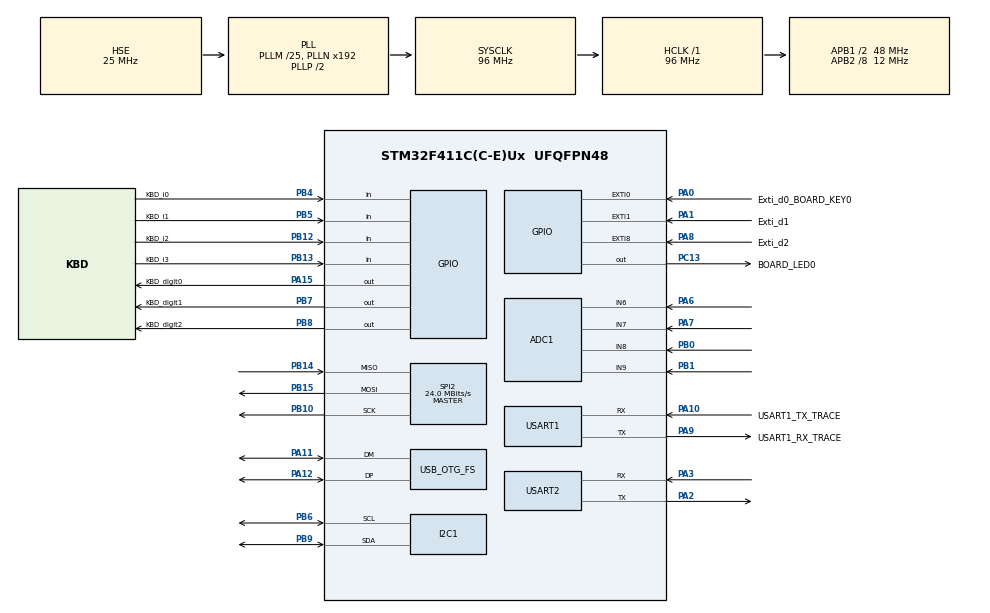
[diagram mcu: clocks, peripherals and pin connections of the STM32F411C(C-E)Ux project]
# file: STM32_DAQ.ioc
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ADC1.Channel-0\#ChannelRegularConversion=ADC_CHANNEL_6
ADC1.Channel-1\#ChannelRegularConversion=ADC_CHANNEL_7
ADC1.Channel-2\#ChannelRegularConversion=ADC_CHANNEL_8
ADC1.Channel-3\#ChannelRegularConversion=ADC_CHANNEL_9
ADC1.ClockPrescaler=ADC_CLOCK_SYNC_PCLK_DIV8
ADC1.DiscontinuousConvMode=DISABLE
ADC1.EOCSelection=ADC_EOC_SEQ_CONV
ADC1.EnableAnalogWatchDog=false
ADC1.InjNumberOfConversion=0
ADC1.NbrOfConversion=4
ADC1.NbrOfConversionFlag=1
ADC1.Rank-0\#ChannelRegularConversion=1
ADC1.Rank-1\#ChannelRegularConversion=2
ADC1.Rank-2\#ChannelRegularConversion=3
ADC1.Rank-3\#ChannelRegularConversion=4
ADC1.SamplingTime-0\#ChannelRegularConversion=ADC_SAMPLETIME_480CYCLES
ADC1.SamplingTime-1\#ChannelRegularConversion=ADC_SAMPLETIME_480CYCLES
ADC1.SamplingTime-2\#ChannelRegularConversion=ADC_SAMPLETIME_480CYCLES
ADC1.SamplingTime-3\#ChannelRegularConversion=ADC_SAMPLETIME_480CYCLES
ADC1.master=1
Dma.ADC1.0.Direction=DMA_PERIPH_TO_MEMORY
Dma.ADC1.0.FIFOMode=DMA_FIFOMODE_DISABLE
Dma.ADC1.0.Instance=DMA2_Stream0
Dma.ADC1.0.MemDataAlignment=DMA_MDATAALIGN_WORD
Dma.ADC1.0.MemInc=DMA_MINC_ENABLE
Dma.ADC1.0.Mode=DMA_NORMAL
Dma.ADC1.0.PeriphDataAlignment=DMA_PDATAALIGN_WORD
Dma.ADC1.0.PeriphInc=DMA_PINC_DISABLE
Dma.ADC1.0.Priority=DMA_PRIORITY_LOW
Dma.Request0=ADC1
FREERTOS.Events01=EvtTrace,Dynamic,NULL;EvtGlobalRunStop,Dynamic,NULL;EvtTaskHealth,Dynamic,NULL;EvtTriggers,Dynamic,NULL;EvtSpare2,Dynamic,NULL
FREERTOS.INCLUDE_xEventGroupSetBitFromISR=0
FREERTOS.Mutexes01=mtxMeasCnt,Dynamic,NULL,Available
FREERTOS.Queues01=qTrace,64,TRACE_MESSAGE_STRUCT,0,Dynamic,NULL,NULL;qRadioTx,64,RADIO_MESSAGE_STRUCT,0,Dynamic,NULL,NULL;qRadioRx,16,128,1,Dynamic,NULL,NULL;qRadioFwd,64,uint32_t,0,Dynamic,NULL,NULL
FREERTOS.Tasks01=defaultTask,24,128,StartDefaultTask,Default,NULL,Dynamic,NULL,NULL;TaskBlinky,8,128,startTaskBlinky,Default,NULL,Dynamic,NULL,NULL;TaskTrace,8,512,startTaskTrace,Default,NULL,Dynamic,NULL,NULL;TaskDispecer,8,512,startTaskDispecer,Default,NULL,Dynamic,NULL,NULL;TaskRadioComms,8,512,startTaskRadioComms,Default,NULL,Dynamic,NULL,NULL;TaskID,8,128,startTaskID,Default,NULL,Dynamic,NULL,NULL;d3,8,128,d3start,Default,NULL,Dynamic,NULL,NULL;d4,8,128,d4start,Default,NULL,Dynamic,NULL,NULL;d5,8,128,d5start,Default,NULL,Dynamic,NULL,NULL;d6,8,128,d6start,Default,NULL,Dynamic,NULL,NULL;TaskHwI2c,8,128,startTaskHwI2c,Default,NULL,Dynamic,NULL,NULL;TaskHwSpi,8,128,startTaskHwSpi,Default,NULL,Dynamic,NULL,NULL;TaskDigitalIn,8,512,startTaskDigitalIn,Default,NULL,Dynamic,NULL,NULL;TaskAnalogIn,8,512,startTaskAnalogIn,Default,NULL,Dynamic,NULL,NULL
FREERTOS.configCHECK_FOR_STACK_OVERFLOW=2
FREERTOS.configENABLE_BACKWARD_COMPATIBILITY=0
FREERTOS.configENABLE_FPU=1
FREERTOS.configGENERATE_RUN_TIME_STATS=1
FREERTOS.configMAX_TASK_NAME_LEN=56
FREERTOS.configMINIMAL_STACK_SIZE=128
FREERTOS.configQUEUE_REGISTRY_SIZE=32
FREERTOS.configRECORD_STACK_HIGH_ADDRESS=1
FREERTOS.configTIMER_TASK_STACK_DEPTH=512
FREERTOS.configTOTAL_HEAP_SIZE=96000
FREERTOS.configUSE_APPLICATION_TASK_TAG=1
FREERTOS.configUSE_IDLE_HOOK=1
FREERTOS.configUSE_MALLOC_FAILED_HOOK=1
FREERTOS.configUSE_NEWLIB_REENTRANT=0
FREERTOS.configUSE_POSIX_ERRNO=1
FREERTOS.configUSE_STATS_FORMATTING_FUNCTIONS=1
FREERTOS.configUSE_TICK_HOOK=1
Mcu.Family=STM32F4
Mcu.Name=STM32F411C(C-E)Ux
Mcu.Package=UFQFPN48
Mcu.UserConstants=UART_radio,$$_USART2_IP_HANDLE_$$;I2C_sensors,$$_I2C1_IP_HANDLE_$$;TRACE_MESSAGE_STRUCT,TraceMessage_t;SPI_sensors,$$_SPI2_IP_HANDLE_$$;UART_trace,$$_USART1_IP_HANDLE_$$;RADIO_MESSAGE_STRUCT,RadioMessage_t
NVIC.DMA2_Stream0_IRQn=true\:5\:0\:false\:false\:true\:true\:false\:true\:true
NVIC.EXTI0_IRQn=true\:5\:0\:false\:false\:true\:true\:true\:true\:true
NVIC.EXTI1_IRQn=true\:5\:0\:false\:false\:true\:true\:true\:true\:true
NVIC.EXTI9_5_IRQn=true\:5\:0\:false\:false\:true\:true\:true\:true\:true
NVIC.OTG_FS_IRQn=true\:5\:0\:false\:false\:true\:true\:false\:true\:true
NVIC.PriorityGroup=NVIC_PRIORITYGROUP_4
NVIC.TIM1_TRG_COM_TIM11_IRQn=true\:15\:0\:false\:false\:true\:false\:false\:true\:true
NVIC.TimeBase=TIM1_TRG_COM_TIM11_IRQn
NVIC.TimeBaseIP=TIM11
PA0-WKUP.GPIO_Label=Exti_d0_BOARD_KEY0
PA0-WKUP.GPIO_ModeDefaultEXTI=GPIO_MODE_IT_RISING_FALLING
PA0-WKUP.GPIO_PuPd=GPIO_PULLUP
PA0-WKUP.Signal=GPXTI0
PA1.GPIO_Label=Exti_d1
PA1.GPIO_ModeDefaultEXTI=GPIO_MODE_IT_RISING_FALLING
PA1.GPIO_PuPd=GPIO_PULLUP
PA1.Signal=GPXTI1
PA10.GPIO_Label=USART1_TX_TRACE
PA10.Mode=Asynchronous
PA10.Signal=USART1_RX
PA11.Mode=Device_Only
PA11.Signal=USB_OTG_FS_DM
PA12.Mode=Device_Only
PA12.Signal=USB_OTG_FS_DP
PA13.Mode=Trace_Asynchronous_SW
PA13.Signal=SYS_JTMS-SWDIO
PA14.Mode=Trace_Asynchronous_SW
PA14.Signal=SYS_JTCK-SWCLK
PA15.GPIO_Label=KBD_digit0
PA15.GPIO_ModeDefaultOutputPP=GPIO_MODE_OUTPUT_OD
PA15.GPIO_PuPd=GPIO_NOPULL
PA15.Signal=GPIO_Output
PA2.Mode=Asynchronous
PA2.Signal=USART2_TX
PA3.Mode=Asynchronous
PA3.Signal=USART2_RX
PA6.Signal=ADCx_IN6
PA7.Signal=ADCx_IN7
PA8.GPIO_Label=Exti_d2
PA8.GPIO_ModeDefaultEXTI=GPIO_MODE_IT_RISING_FALLING
PA8.GPIO_PuPd=GPIO_PULLUP
PA8.Signal=GPXTI8
PA9.GPIO_Label=USART1_RX_TRACE
PA9.Mode=Asynchronous
PA9.Signal=USART1_TX
PB0.Signal=ADCx_IN8
PB1.Signal=ADCx_IN9
PB10.Mode=Full_Duplex_Master
PB10.Signal=SPI2_SCK
PB12.GPIO_Label=KBD_i2
PB12.GPIO_PuPd=GPIO_PULLUP
PB12.Signal=GPIO_Input
PB13.GPIO_Label=KBD_i3
PB13.GPIO_PuPd=GPIO_PULLUP
PB13.Signal=GPIO_Input
PB14.Mode=Full_Duplex_Master
PB14.Signal=SPI2_MISO
PB15.Mode=Full_Duplex_Master
PB15.Signal=SPI2_MOSI
PB3.Mode=Trace_Asynchronous_SW
PB3.Signal=SYS_JTDO-SWO
PB4.GPIO_Label=KBD_i0
PB4.GPIO_PuPd=GPIO_PULLUP
PB4.Signal=GPIO_Input
PB5.GPIO_Label=KBD_i1
PB5.GPIO_PuPd=GPIO_PULLUP
PB5.Signal=GPIO_Input
PB6.Mode=I2C
PB6.Signal=I2C1_SCL
PB7.GPIO_Label=KBD_digit1
PB7.GPIO_ModeDefaultOutputPP=GPIO_MODE_OUTPUT_OD
PB7.GPIO_PuPd=GPIO_NOPULL
PB7.Signal=GPIO_Output
PB8.GPIO_Label=KBD_digit2
PB8.GPIO_ModeDefaultOutputPP=GPIO_MODE_OUTPUT_OD
PB8.GPIO_PuPd=GPIO_NOPULL
PB8.Signal=GPIO_Output
PB9.Mode=I2C
PB9.Signal=I2C1_SDA
PC13-ANTI_TAMP.GPIO_Label=BOARD_LED0
PC13-ANTI_TAMP.PinState=GPIO_PIN_SET
PC13-ANTI_TAMP.Signal=GPIO_Output
PC14-OSC32_IN.Mode=LSE-External-Oscillator
PC14-OSC32_IN.Signal=RCC_OSC32_IN
PC15-OSC32_OUT.Mode=LSE-External-Oscillator
PC15-OSC32_OUT.Signal=RCC_OSC32_OUT
PH0\ -\ OSC_IN.Mode=HSE-External-Oscillator
PH0\ -\ OSC_IN.Signal=RCC_OSC_IN
PH1\ -\ OSC_OUT.Mode=HSE-External-Oscillator
PH1\ -\ OSC_OUT.Signal=RCC_OSC_OUT
ProjectManager.HeapSize=0x200
ProjectManager.StackSize=0x400
ProjectManager.TargetToolchain=CMake
RCC.48MHZClocksFreq_Value=48000000
RCC.AHBFreq_Value=96000000
RCC.APB1CLKDivider=RCC_HCLK_DIV2
RCC.APB1Freq_Value=48000000
RCC.APB1TimFreq_Value=96000000
RCC.APB2CLKDivider=RCC_HCLK_DIV8
RCC.APB2Freq_Value=12000000
RCC.APB2TimFreq_Value=24000000
RCC.CortexFreq_Value=96000000
RCC.EnbaleCSS=true
RCC.HCLKFreq_Value=96000000
RCC.HSE_VALUE=25000000
RCC.HSI_VALUE=16000000
RCC.PLLM=25
RCC.RCC_RTC_Clock_Source=RCC_RTCCLKSOURCE_LSE
RCC.RCC_RTC_Clock_SourceVirtual=RCC_RTCCLKSOURCE_LSE
RCC.SYSCLKFreq_VALUE=96000000
RCC.SYSCLKSource=RCC_SYSCLKSOURCE_PLLCLK
RCC.VCOOutputFreq_Value=192000000
SH.ADCx_IN6.0=ADC1_IN6,IN6
SH.ADCx_IN7.0=ADC1_IN7,IN7
SH.ADCx_IN8.0=ADC1_IN8,IN8
SH.ADCx_IN9.0=ADC1_IN9,IN9
SPI2.CalculateBaudRate=24.0 MBits/s
SPI2.Direction=SPI_DIRECTION_2LINES
SPI2.Mode=SPI_MODE_MASTER
SPI2.VirtualType=VM_MASTER
USART1.VirtualMode=VM_ASYNC
USART2.VirtualMode=VM_ASYNC
USB_DEVICE.CLASS_NAME_FS=CDC
USB_DEVICE.MANUFACTURER_STRING=ZK
USB_DEVICE.PID_CDC_FS=22336
USB_DEVICE.PRODUCT_STRING_CDC_FS=Specialized DACQ Trace Port
USB_DEVICE.VID=1155
USB_DEVICE.VirtualMode=Cdc
USB_DEVICE.VirtualModeFS=Cdc_FS
USB_OTG_FS.VirtualMode=Device_Only
VP_ADC1_Vbat_Input.Mode=IN-Vbat
VP_CRC_VS_CRC.Mode=CRC_Activate
VP_FREERTOS_VS_CMSIS_V2.Mode=CMSIS_V2
VP_RTC_VS_RTC_Activate.Mode=RTC_Enabled
VP_RTC_VS_RTC_Calendar.Mode=RTC_Calendar
VP_SYS_VS_tim11.Mode=TIM11
VP_USB_DEVICE_VS_USB_DEVICE_CDC_FS.Mode=CDC_FS
board=custom

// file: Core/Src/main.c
/* USER CODE BEGIN Header */
/**
  ******************************************************************************
  * @file           : main.c
  * @brief          : Main program body
  ******************************************************************************
  * @attention
  *
  * Copyright (c) 2026 STMicroelectronics.
  * All rights reserved.
  *
  * This software is licensed under terms that can be found in the LICENSE file
  * in the root directory of this software component.
  * If no LICENSE file comes with this software, it is provided AS-IS.
  *
  ******************************************************************************
  */
/* USER CODE END Header */
#include "main.h"
#include "cmsis_os.h"
#include "usb_device.h"

/* USER CODE BEGIN Includes */
#include <stdbool.h>
#include "usbd_cdc_if.h"
#include "BoardLed.h"
#include "DAQ_Config.h"
#include "DeviceID.h"
#include "Trejser.h"
#include "Radio.h"
#include "MerenjaHolder.h"
#include "Kalendar.h"

/* USER CODE END Includes */

ADC_HandleTypeDef hadc1;
DMA_HandleTypeDef hdma_adc1;

CRC_HandleTypeDef hcrc;

I2C_HandleTypeDef hi2c1;

RTC_HandleTypeDef hrtc;

SPI_HandleTypeDef hspi2;

UART_HandleTypeDef huart1;
UART_HandleTypeDef huart2;

/* Definitions for defaultTask */
osThreadId_t defaultTaskHandle;
const osThreadAttr_t defaultTask_attributes = {
  .name = "defaultTask",
  .stack_size = 128 * 4,
  .priority = (osPriority_t) osPriorityNormal,
};
/* Definitions for TaskBlinky */
osThreadId_t TaskBlinkyHandle;
const osThreadAttr_t TaskBlinky_attributes = {
  .name = "TaskBlinky",
  .stack_size = 128 * 4,
  .priority = (osPriority_t) osPriorityLow,
};
/* Definitions for TaskTrace */
osThreadId_t TaskTraceHandle;
const osThreadAttr_t TaskTrace_attributes = {
  .name = "TaskTrace",
  .stack_size = 512 * 4,
  .priority = (osPriority_t) osPriorityLow,
};
/* Definitions for TaskDispecer */
osThreadId_t TaskDispecerHandle;
const osThreadAttr_t TaskDispecer_attributes = {
  .name = "TaskDispecer",
  .stack_size = 512 * 4,
  .priority = (osPriority_t) osPriorityLow,
};
/* Definitions for TaskRadioComms */
osThreadId_t TaskRadioCommsHandle;
const osThreadAttr_t TaskRadioComms_attributes = {
  .name = "TaskRadioComms",
  .stack_size = 512 * 4,
  .priority = (osPriority_t) osPriorityLow,
};
/* Definitions for TaskID */
osThreadId_t TaskIDHandle;
const osThreadAttr_t TaskID_attributes = {
  .name = "TaskID",
  .stack_size = 128 * 4,
  .priority = (osPriority_t) osPriorityLow,
};
/* Definitions for d3 */
osThreadId_t d3Handle;
const osThreadAttr_t d3_attributes = {
  .name = "d3",
  .stack_size = 128 * 4,
  .priority = (osPriority_t) osPriorityLow,
};
/* Definitions for d4 */
osThreadId_t d4Handle;
const osThreadAttr_t d4_attributes = {
  .name = "d4",
  .stack_size = 128 * 4,
  .priority = (osPriority_t) osPriorityLow,
};
/* Definitions for d5 */
osThreadId_t d5Handle;
const osThreadAttr_t d5_attributes = {
  .name = "d5",
  .stack_size = 128 * 4,
  .priority = (osPriority_t) osPriorityLow,
};
/* Definitions for d6 */
osThreadId_t d6Handle;
const osThreadAttr_t d6_attributes = {
  .name = "d6",
  .stack_size = 128 * 4,
  .priority = (osPriority_t) osPriorityLow,
};
/* Definitions for TaskHwI2c */
osThreadId_t TaskHwI2cHandle;
const osThreadAttr_t TaskHwI2c_attributes = {
  .name = "TaskHwI2c",
  .stack_size = 128 * 4,
  .priority = (osPriority_t) osPriorityLow,
};
/* Definitions for TaskHwSpi */
osThreadId_t TaskHwSpiHandle;
const osThreadAttr_t TaskHwSpi_attributes = {
  .name = "TaskHwSpi",
  .stack_size = 128 * 4,
  .priority = (osPriority_t) osPriorityLow,
};
/* Definitions for TaskDigitalIn */
osThreadId_t TaskDigitalInHandle;
const osThreadAttr_t TaskDigitalIn_attributes = {
  .name = "TaskDigitalIn",
  .stack_size = 512 * 4,
  .priority = (osPriority_t) osPriorityLow,
};
/* Definitions for TaskAnalogIn */
osThreadId_t TaskAnalogInHandle;
const osThreadAttr_t TaskAnalogIn_attributes = {
  .name = "TaskAnalogIn",
  .stack_size = 512 * 4,
  .priority = (osPriority_t) osPriorityLow,
};
/* Definitions for qTrace */
osMessageQueueId_t qTraceHandle;
const osMessageQueueAttr_t qTrace_attributes = {
  .name = "qTrace"
};
/* Definitions for qRadioTx */
osMessageQueueId_t qRadioTxHandle;
const osMessageQueueAttr_t qRadioTx_attributes = {
  .name = "qRadioTx"
};
/* Definitions for qRadioRx */
osMessageQueueId_t qRadioRxHandle;
const osMessageQueueAttr_t qRadioRx_attributes = {
  .name = "qRadioRx"
};
/* Definitions for qRadioFwd */
osMessageQueueId_t qRadioFwdHandle;
const osMessageQueueAttr_t qRadioFwd_attributes = {
  .name = "qRadioFwd"
};
/* Definitions for mtxMeasCnt */
osMutexId_t mtxMeasCntHandle;
const osMutexAttr_t mtxMeasCnt_attributes = {
  .name = "mtxMeasCnt"
};
/* Definitions for EvtTrace */
osEventFlagsId_t EvtTraceHandle;
const osEventFlagsAttr_t EvtTrace_attributes = {
  .name = "EvtTrace"
};
/* Definitions for EvtGlobalRunStop */
osEventFlagsId_t EvtGlobalRunStopHandle;
const osEventFlagsAttr_t EvtGlobalRunStop_attributes = {
  .name = "EvtGlobalRunStop"
};
/* Definitions for EvtTaskHealth */
osEventFlagsId_t EvtTaskHealthHandle;
const osEventFlagsAttr_t EvtTaskHealth_attributes = {
  .name = "EvtTaskHealth"
};
/* Definitions for EvtTriggers */
osEventFlagsId_t EvtTriggersHandle;
const osEventFlagsAttr_t EvtTriggers_attributes = {
  .name = "EvtTriggers"
};
/* Definitions for EvtSpare2 */
osEventFlagsId_t EvtSpare2Handle;
const osEventFlagsAttr_t EvtSpare2_attributes = {
  .name = "EvtSpare2"
};
/* USER CODE BEGIN PV */

const uint32_t qWt = 10;					// wait za upis u queue
const uint32_t trcWt = 100;					// timeout za uart i usb trace facility
const uint32_t allMeasTmout = 1000U * 20;	// timeout da se zavrse sva merenja
uint32_t measCnt = 0;

// maksimalni flegovi
uint32_t flg_MAX = 0x7FFFFFFFU;

typedef enum {									// enum je potreban sa switch case
	flg_BLINK_ENABLED =				(1 << 0 ),

	flg_DIGITAL_ENABLED =			(1 << 1 ),
	flg_DIGITAL_IRQ =				(1 << 2 ),	// EXTI callback: digitalni ulaz se promenio
	flg_DIGITAL_REQUEST =			(1 << 3 ),	// neki task zahteva ocitavanje digitalnih ulaza
	flg_DIGITAL_PROCESSING_DONE =	(1 << 4 ),	// svi digitalni pinovi procitani i spremni za slanje
	flg_DIGITAL_TRIGGERED =			(1 << 5 ),	// svi digitalni pinovi procitani i spremni za slanje

	flg_ANALOG_ENABLED = 			(1 << 6 ),
	flg_ADC_CONV_CPLT_IRQ =			(1 << 7 ),	// ADC IRQ callback: zavrsena adc konverzija u pozadini i DMA je obavio svoje
	flg_ADC_REQUEST =				(1 << 8 ),	// neki task zahteva adc konverziju
	flg_ANALOG_PROCESSING_DONE =	(1 << 9 ),	// zavrsena analogna merenja ali ni jedan threshold nije prekoracen
	flg_ANALOG_TRIGGERED =			(1 << 10),	// zavrsena analogna merenja i neka vrednost je prekoracena

	flg_RADIO_ENABLED =				(1 << 11),

	flg_devID_ENABLED =				(1 << 12),	// read device id

	evtflg_SPARE1_TRIGGER =			(1 << 13),
	evtflg_SPARE2_TRIGGER =			(1 << 14),
	evtflg_SPARE3_TRIGGER =			(1 << 15),
	evtflg_SPARE4_TRIGGER =			(1 << 16),
} Flegovi_t;

/* USER CODE END PV */

void SystemClock_Config(void);
static void MX_GPIO_Init(void);
static void MX_DMA_Init(void);
static void MX_ADC1_Init(void);
static void MX_CRC_Init(void);
static void MX_I2C1_Init(void);
static void MX_RTC_Init(void);
static void MX_SPI2_Init(void);
static void MX_USART1_UART_Init(void);
static void MX_USART2_UART_Init(void);
void StartDefaultTask(void *argument);
void startTaskBlinky(void *argument);
void startTaskTrace(void *argument);
void startTaskDispecer(void *argument);
void startTaskRadioComms(void *argument);
void startTaskID(void *argument);
void d3start(void *argument);
void d4start(void *argument);
void d5start(void *argument);
void d6start(void *argument);
void startTaskHwI2c(void *argument);
void startTaskHwSpi(void *argument);
void startTaskDigitalIn(void *argument);
void startTaskAnalogIn(void *argument);

int main(void)
{

  /* MCU Configuration--------------------------------------------------------*/

  /* Reset of all peripherals, Initializes the Flash interface and the Systick. */
  HAL_Init();

  /* Configure the system clock */
  SystemClock_Config();

  /* Initialize all configured peripherals */
  MX_GPIO_Init();
  MX_DMA_Init();
  MX_ADC1_Init();
  MX_CRC_Init();
  MX_I2C1_Init();
  MX_RTC_Init();
  MX_SPI2_Init();
  MX_USART1_UART_Init();
  MX_USART2_UART_Init();

  /* Init scheduler */
  osKernelInitialize();
  /* Create the mutex(es) */
  /* creation of mtxMeasCnt */
  mtxMeasCntHandle = osMutexNew(&mtxMeasCnt_attributes);

  /* Create the queue(s) */
  /* creation of qTrace */
  qTraceHandle = osMessageQueueNew (64, sizeof(TRACE_MESSAGE_STRUCT), &qTrace_attributes);

  /* creation of qRadioTx */
  qRadioTxHandle = osMessageQueueNew (64, sizeof(RADIO_MESSAGE_STRUCT), &qRadioTx_attributes);

  /* creation of qRadioRx */
  qRadioRxHandle = osMessageQueueNew (16, 128, &qRadioRx_attributes);

  /* creation of qRadioFwd */
  qRadioFwdHandle = osMessageQueueNew (64, sizeof(uint32_t), &qRadioFwd_attributes);

  /* Create the thread(s) */
  /* creation of defaultTask */
  defaultTaskHandle = osThreadNew(StartDefaultTask, NULL, &defaultTask_attributes);

  /* creation of TaskBlinky */
  TaskBlinkyHandle = osThreadNew(startTaskBlinky, NULL, &TaskBlinky_attributes);

  /* creation of TaskTrace */
  TaskTraceHandle = osThreadNew(startTaskTrace, NULL, &TaskTrace_attributes);

  /* creation of TaskDispecer */
  TaskDispecerHandle = osThreadNew(startTaskDispecer, NULL, &TaskDispecer_attributes);

  /* creation of TaskRadioComms */
  TaskRadioCommsHandle = osThreadNew(startTaskRadioComms, NULL, &TaskRadioComms_attributes);

  /* creation of TaskID */
  TaskIDHandle = osThreadNew(startTaskID, NULL, &TaskID_attributes);

  /* creation of d3 */
  d3Handle = osThreadNew(d3start, NULL, &d3_attributes);

  /* creation of d4 */
  d4Handle = osThreadNew(d4start, NULL, &d4_attributes);

  /* creation of d5 */
  d5Handle = osThreadNew(d5start, NULL, &d5_attributes);

  /* creation of d6 */
  d6Handle = osThreadNew(d6start, NULL, &d6_attributes);

  /* creation of TaskHwI2c */
  TaskHwI2cHandle = osThreadNew(startTaskHwI2c, NULL, &TaskHwI2c_attributes);

  /* creation of TaskHwSpi */
  TaskHwSpiHandle = osThreadNew(startTaskHwSpi, NULL, &TaskHwSpi_attributes);

  /* creation of TaskDigitalIn */
  TaskDigitalInHandle = osThreadNew(startTaskDigitalIn, NULL, &TaskDigitalIn_attributes);

  /* creation of TaskAnalogIn */
  TaskAnalogInHandle = osThreadNew(startTaskAnalogIn, NULL, &TaskAnalogIn_attributes);

  /* creation of EvtTrace */
  EvtTraceHandle = osEventFlagsNew(&EvtTrace_attributes);

  /* creation of EvtGlobalRunStop */
  EvtGlobalRunStopHandle = osEventFlagsNew(&EvtGlobalRunStop_attributes);

  /* creation of EvtTaskHealth */
  EvtTaskHealthHandle = osEventFlagsNew(&EvtTaskHealth_attributes);

  /* creation of EvtTriggers */
  EvtTriggersHandle = osEventFlagsNew(&EvtTriggers_attributes);

  /* creation of EvtSpare2 */
  EvtSpare2Handle = osEventFlagsNew(&EvtSpare2_attributes);

  /* Start scheduler */
  osKernelStart();

  /* We should never get here as control is now taken by the scheduler */

  /* Infinite loop */
  while (1)
  {

  }
}

void SystemClock_Config(void)
{
  RCC_OscInitTypeDef RCC_OscInitStruct = {0};
  RCC_ClkInitTypeDef RCC_ClkInitStruct = {0};

  /** Configure the main internal regulator output voltage
  */
  __HAL_RCC_PWR_CLK_ENABLE();
  __HAL_PWR_VOLTAGESCALING_CONFIG(PWR_REGULATOR_VOLTAGE_SCALE1);

  /** Initializes the RCC Oscillators according to the specified parameters
  * in the RCC_OscInitTypeDef structure.
  */
  RCC_OscInitStruct.OscillatorType = RCC_OSCILLATORTYPE_HSE|RCC_OSCILLATORTYPE_LSE;
  RCC_OscInitStruct.HSEState = RCC_HSE_ON;
  RCC_OscInitStruct.LSEState = RCC_LSE_ON;
  RCC_OscInitStruct.PLL.PLLState = RCC_PLL_ON;
  RCC_OscInitStruct.PLL.PLLSource = RCC_PLLSOURCE_HSE;
  RCC_OscInitStruct.PLL.PLLM = 25;
  RCC_OscInitStruct.PLL.PLLN = 192;
  RCC_OscInitStruct.PLL.PLLP = RCC_PLLP_DIV2;
  RCC_OscInitStruct.PLL.PLLQ = 4;
  if (HAL_RCC_OscConfig(&RCC_OscInitStruct) != HAL_OK)
  {
    Error_Handler();
  }

  /** Initializes the CPU, AHB and APB buses clocks
  */
  RCC_ClkInitStruct.ClockType = RCC_CLOCKTYPE_HCLK|RCC_CLOCKTYPE_SYSCLK
                              |RCC_CLOCKTYPE_PCLK1|RCC_CLOCKTYPE_PCLK2;
  RCC_ClkInitStruct.SYSCLKSource = RCC_SYSCLKSOURCE_PLLCLK;
  RCC_ClkInitStruct.AHBCLKDivider = RCC_SYSCLK_DIV1;
  RCC_ClkInitStruct.APB1CLKDivider = RCC_HCLK_DIV2;
  RCC_ClkInitStruct.APB2CLKDivider = RCC_HCLK_DIV8;

  if (HAL_RCC_ClockConfig(&RCC_ClkInitStruct, FLASH_LATENCY_3) != HAL_OK)
  {
    Error_Handler();
  }

  /** Enables the Clock Security System
  */
  HAL_RCC_EnableCSS();
}

static void MX_ADC1_Init(void)
{

  ADC_ChannelConfTypeDef sConfig = {0};

  /** Configure the global features of the ADC (Clock, Resolution, Data Alignment and number of conversion)
  */
  hadc1.Instance = ADC1;
  hadc1.Init.ClockPrescaler = ADC_CLOCK_SYNC_PCLK_DIV8;
  hadc1.Init.Resolution = ADC_RESOLUTION_12B;
  hadc1.Init.ScanConvMode = ENABLE;
  hadc1.Init.ContinuousConvMode = DISABLE;
  hadc1.Init.DiscontinuousConvMode = DISABLE;
  hadc1.Init.ExternalTrigConvEdge = ADC_EXTERNALTRIGCONVEDGE_NONE;
  hadc1.Init.ExternalTrigConv = ADC_SOFTWARE_START;
  hadc1.Init.DataAlign = ADC_DATAALIGN_RIGHT;
  hadc1.Init.NbrOfConversion = 4;
  hadc1.Init.DMAContinuousRequests = DISABLE;
  hadc1.Init.EOCSelection = ADC_EOC_SEQ_CONV;
  if (HAL_ADC_Init(&hadc1) != HAL_OK)
  {
    Error_Handler();
  }

  /** Configure for the selected ADC regular channel its corresponding rank in the sequencer and its sample time.
  */
  sConfig.Channel = ADC_CHANNEL_6;
  sConfig.Rank = 1;
  sConfig.SamplingTime = ADC_SAMPLETIME_480CYCLES;
  if (HAL_ADC_ConfigChannel(&hadc1, &sConfig) != HAL_OK)
  {
    Error_Handler();
  }

  /** Configure for the selected ADC regular channel its corresponding rank in the sequencer and its sample time.
  */
  sConfig.Channel = ADC_CHANNEL_7;
  sConfig.Rank = 2;
  if (HAL_ADC_ConfigChannel(&hadc1, &sConfig) != HAL_OK)
  {
    Error_Handler();
  }

  /** Configure for the selected ADC regular channel its corresponding rank in the sequencer and its sample time.
  */
  sConfig.Channel = ADC_CHANNEL_8;
  sConfig.Rank = 3;
  if (HAL_ADC_ConfigChannel(&hadc1, &sConfig) != HAL_OK)
  {
    Error_Handler();
  }

  /** Configure for the selected ADC regular channel its corresponding rank in the sequencer and its sample time.
  */
  sConfig.Channel = ADC_CHANNEL_9;
  sConfig.Rank = 4;
  if (HAL_ADC_ConfigChannel(&hadc1, &sConfig) != HAL_OK)
  {
    Error_Handler();
  }

}

static void MX_CRC_Init(void)
{

  hcrc.Instance = CRC;
  if (HAL_CRC_Init(&hcrc) != HAL_OK)
  {
    Error_Handler();
  }

}

static void MX_I2C1_Init(void)
{

  hi2c1.Instance = I2C1;
  hi2c1.Init.ClockSpeed = 100000;
  hi2c1.Init.DutyCycle = I2C_DUTYCYCLE_2;
  hi2c1.Init.OwnAddress1 = 0;
  hi2c1.Init.AddressingMode = I2C_ADDRESSINGMODE_7BIT;
  hi2c1.Init.DualAddressMode = I2C_DUALADDRESS_DISABLE;
  hi2c1.Init.OwnAddress2 = 0;
  hi2c1.Init.GeneralCallMode = I2C_GENERALCALL_DISABLE;
  hi2c1.Init.NoStretchMode = I2C_NOSTRETCH_DISABLE;
  if (HAL_I2C_Init(&hi2c1) != HAL_OK)
  {
    Error_Handler();
  }

}

static void MX_RTC_Init(void)
{

  RTC_TimeTypeDef sTime = {0};
  RTC_DateTypeDef sDate = {0};

  /** Initialize RTC Only
  */
  hrtc.Instance = RTC;
  hrtc.Init.HourFormat = RTC_HOURFORMAT_24;
  hrtc.Init.AsynchPrediv = 127;
  hrtc.Init.SynchPrediv = 255;
  hrtc.Init.OutPut = RTC_OUTPUT_DISABLE;
  hrtc.Init.OutPutPolarity = RTC_OUTPUT_POLARITY_HIGH;
  hrtc.Init.OutPutType = RTC_OUTPUT_TYPE_OPENDRAIN;
  if (HAL_RTC_Init(&hrtc) != HAL_OK)
  {
    Error_Handler();
  }

  /** Initialize RTC and set the Time and Date
  */
  sTime.Hours = 0x0;
  sTime.Minutes = 0x0;
  sTime.Seconds = 0x0;
  sTime.DayLightSaving = RTC_DAYLIGHTSAVING_NONE;
  sTime.StoreOperation = RTC_STOREOPERATION_RESET;
  if (HAL_RTC_SetTime(&hrtc, &sTime, RTC_FORMAT_BCD) != HAL_OK)
  {
    Error_Handler();
  }
  sDate.WeekDay = RTC_WEEKDAY_MONDAY;
  sDate.Month = RTC_MONTH_JANUARY;
  sDate.Date = 0x1;
  sDate.Year = 0x0;

  if (HAL_RTC_SetDate(&hrtc, &sDate, RTC_FORMAT_BCD) != HAL_OK)
  {
    Error_Handler();
  }

}

static void MX_SPI2_Init(void)
{

  /* SPI2 parameter configuration*/
  hspi2.Instance = SPI2;
  hspi2.Init.Mode = SPI_MODE_MASTER;
  hspi2.Init.Direction = SPI_DIRECTION_2LINES;
  hspi2.Init.DataSize = SPI_DATASIZE_8BIT;
  hspi2.Init.CLKPolarity = SPI_POLARITY_LOW;
  hspi2.Init.CLKPhase = SPI_PHASE_1EDGE;
  hspi2.Init.NSS = SPI_NSS_SOFT;
  hspi2.Init.BaudRatePrescaler = SPI_BAUDRATEPRESCALER_2;
  hspi2.Init.FirstBit = SPI_FIRSTBIT_MSB;
  hspi2.Init.TIMode = SPI_TIMODE_DISABLE;
  hspi2.Init.CRCCalculation = SPI_CRCCALCULATION_DISABLE;
  hspi2.Init.CRCPolynomial = 10;
  if (HAL_SPI_Init(&hspi2) != HAL_OK)
  {
    Error_Handler();
  }

}

static void MX_USART1_UART_Init(void)
{

  huart1.Instance = USART1;
  huart1.Init.BaudRate = 115200;
  huart1.Init.WordLength = UART_WORDLENGTH_8B;
  huart1.Init.StopBits = UART_STOPBITS_1;
  huart1.Init.Parity = UART_PARITY_NONE;
  huart1.Init.Mode = UART_MODE_TX_RX;
  huart1.Init.HwFlowCtl = UART_HWCONTROL_NONE;
  huart1.Init.OverSampling = UART_OVERSAMPLING_16;
  if (HAL_UART_Init(&huart1) != HAL_OK)
  {
    Error_Handler();
  }

}

static void MX_USART2_UART_Init(void)
{

  huart2.Instance = USART2;
  huart2.Init.BaudRate = 115200;
  huart2.Init.WordLength = UART_WORDLENGTH_8B;
  huart2.Init.StopBits = UART_STOPBITS_1;
  huart2.Init.Parity = UART_PARITY_NONE;
  huart2.Init.Mode = UART_MODE_TX_RX;
  huart2.Init.HwFlowCtl = UART_HWCONTROL_NONE;
  huart2.Init.OverSampling = UART_OVERSAMPLING_16;
  if (HAL_UART_Init(&huart2) != HAL_OK)
  {
    Error_Handler();
  }

}

static void MX_DMA_Init(void)
{

  /* DMA controller clock enable */
  __HAL_RCC_DMA2_CLK_ENABLE();

  /* DMA interrupt init */
  /* DMA2_Stream0_IRQn interrupt configuration */
  HAL_NVIC_SetPriority(DMA2_Stream0_IRQn, 5, 0);
  HAL_NVIC_EnableIRQ(DMA2_Stream0_IRQn);

}

static void MX_GPIO_Init(void)
{
  GPIO_InitTypeDef GPIO_InitStruct = {0};

  /* GPIO Ports Clock Enable */
  __HAL_RCC_GPIOC_CLK_ENABLE();
  __HAL_RCC_GPIOH_CLK_ENABLE();
  __HAL_RCC_GPIOA_CLK_ENABLE();
  __HAL_RCC_GPIOB_CLK_ENABLE();

  /*Configure GPIO pin Output Level */
  HAL_GPIO_WritePin(BOARD_LED0_GPIO_Port, BOARD_LED0_Pin, GPIO_PIN_SET);

  /*Configure GPIO pin Output Level */
  HAL_GPIO_WritePin(KBD_digit0_GPIO_Port, KBD_digit0_Pin, GPIO_PIN_RESET);

  /*Configure GPIO pin Output Level */
  HAL_GPIO_WritePin(GPIOB, KBD_digit1_Pin|KBD_digit2_Pin, GPIO_PIN_RESET);

  /*Configure GPIO pin : BOARD_LED0_Pin */
  GPIO_InitStruct.Pin = BOARD_LED0_Pin;
  GPIO_InitStruct.Mode = GPIO_MODE_OUTPUT_PP;
  GPIO_InitStruct.Pull = GPIO_NOPULL;
  GPIO_InitStruct.Speed = GPIO_SPEED_FREQ_LOW;
  HAL_GPIO_Init(BOARD_LED0_GPIO_Port, &GPIO_InitStruct);

  /*Configure GPIO pins : Exti_d0_BOARD_KEY0_Pin Exti_d1_Pin Exti_d2_Pin */
  GPIO_InitStruct.Pin = Exti_d0_BOARD_KEY0_Pin|Exti_d1_Pin|Exti_d2_Pin;
  GPIO_InitStruct.Mode = GPIO_MODE_IT_RISING_FALLING;
  GPIO_InitStruct.Pull = GPIO_PULLUP;
  HAL_GPIO_Init(GPIOA, &GPIO_InitStruct);

  /*Configure GPIO pins : KBD_i2_Pin KBD_i3_Pin KBD_i0_Pin KBD_i1_Pin */
  GPIO_InitStruct.Pin = KBD_i2_Pin|KBD_i3_Pin|KBD_i0_Pin|KBD_i1_Pin;
  GPIO_InitStruct.Mode = GPIO_MODE_INPUT;
  GPIO_InitStruct.Pull = GPIO_PULLUP;
  HAL_GPIO_Init(GPIOB, &GPIO_InitStruct);

  /*Configure GPIO pin : KBD_digit0_Pin */
  GPIO_InitStruct.Pin = KBD_digit0_Pin;
  GPIO_InitStruct.Mode = GPIO_MODE_OUTPUT_OD;
  GPIO_InitStruct.Pull = GPIO_NOPULL;
  GPIO_InitStruct.Speed = GPIO_SPEED_FREQ_LOW;
  HAL_GPIO_Init(KBD_digit0_GPIO_Port, &GPIO_InitStruct);

  /*Configure GPIO pins : KBD_digit1_Pin KBD_digit2_Pin */
  GPIO_InitStruct.Pin = KBD_digit1_Pin|KBD_digit2_Pin;
  GPIO_InitStruct.Mode = GPIO_MODE_OUTPUT_OD;
  GPIO_InitStruct.Pull = GPIO_NOPULL;
  GPIO_InitStruct.Speed = GPIO_SPEED_FREQ_LOW;
  HAL_GPIO_Init(GPIOB, &GPIO_InitStruct);

  /* EXTI interrupt init*/
  HAL_NVIC_SetPriority(EXTI0_IRQn, 5, 0);
  HAL_NVIC_EnableIRQ(EXTI0_IRQn);

  HAL_NVIC_SetPriority(EXTI1_IRQn, 5, 0);
  HAL_NVIC_EnableIRQ(EXTI1_IRQn);

  HAL_NVIC_SetPriority(EXTI9_5_IRQn, 5, 0);
  HAL_NVIC_EnableIRQ(EXTI9_5_IRQn);

}

/* USER CODE BEGIN 4 */

void HAL_GPIO_EXTI_Callback(uint16_t GPIO_Pin) {
	//	uint32_t flg = osThreadFlagsSet(TaskDigitalInHandle, GPIO_Pin);
	osThreadFlagsSet(TaskDigitalInHandle, (uint32_t) GPIO_Pin);
	__NOP();
}

void HAL_ADC_ConvCpltCallback(ADC_HandleTypeDef *hadc) {
	osThreadFlagsSet(TaskAnalogInHandle, flg_ADC_CONV_CPLT_IRQ); // ADC merenje zavrseno u pozadini
}

#define BIN4_TO_STR(val, buf)                  \
do {                                       \
	(buf)[0] = ((val) & (1 << 3)) ? '1' : '0'; \
	(buf)[1] = ((val) & (1 << 2)) ? '1' : '0'; \
	(buf)[2] = ((val) & (1 << 1)) ? '1' : '0'; \
	(buf)[3] = ((val) & (1 << 0)) ? '1' : '0'; \
	(buf)[4] = '\0';                       \
} while (0)

/* USER CODE END 4 */

void StartDefaultTask(void *argument)
{
  /* init code for USB_DEVICE */
  MX_USB_DEVICE_Init();
  /* USER CODE BEGIN 5 */
  /* Infinite loop */
for (;;) {
	osDelay(1000);
}
  /* USER CODE END 5 */
}

void startTaskBlinky(void *argument)
{
  /* USER CODE BEGIN startTaskBlinky */
	const char blr[] = "led blur";
	const char other[] = "led blink";

	osEventFlagsWait(EvtGlobalRunStopHandle, flg_BLINK_ENABLED, osFlagsWaitAll, osWaitForever);
	osEventFlagsSet(EvtTaskHealthHandle, flg_BLINK_ENABLED);
	/* Infinite loop */
	for (;;) {
		uint32_t per = cfg_GetHeartbeatPeriod();
		uint32_t flg = osThreadFlagsWait(flg_MAX, osFlagsWaitAny, per);
		if (flg == osFlagsErrorTimeout) {
			tracePrint1s(qTraceHandle, dbg_4, blr);		// retko cemo gledati bas svaki blur
			ledBlur(500, 1, 10);
		} else {
			tracePrint1s(qTraceHandle, dbg_6, other);		// ULTRA_HIGH za bas teske slucajeve debugginga
			ledBlink(5);
		}
		osDelay(1);
	}
  /* USER CODE END startTaskBlinky */
}

void startTaskTrace(void *argument)
{
  /* USER CODE BEGIN startTaskTrace */
	TraceMessage_t rxmsg;
	HAL_StatusTypeDef stat;
	uint32_t cdcTmout;
	/* Infinite loop */
	for (;;) {
		osMessageQueueGet(qTraceHandle, &rxmsg, 0U, osWaitForever);
		stat = HAL_UART_Transmit(&UART_trace, (uint8_t *)rxmsg.txt, strlen(rxmsg.txt), trcWt);	// ako nije gotovo za 200mS batali tracing
		if (stat != HAL_OK) {
			//	  		 TODO kome signalizirati ako UART trejser ne radi?
			__NOP();
		}

		cdcTmout = 0;
		while ( (cdcTmout<trcWt) && ( CDC_Transmit_FS((uint8_t *)rxmsg.txt, strlen(rxmsg.txt))==USBD_BUSY )
			) {
			osDelay(1);
			cdcTmout++;
			if (cdcTmout >= trcWt) {
				// TODO kome signalizirati ako ni USB trejser ne radi!
			}
			}
		osDelay(1);
		osThreadYield();

	}

  /* USER CODE END startTaskTrace */
}

void startTaskDispecer(void *argument)
{
  /* USER CODE BEGIN startTaskDispecer */
	const char sys_boot[] =			"system: reboot";
	const char sys_startup[] =		"system: startup...";
	const char sys_ok[] = 			"system: startup OK";
	const char sys_enx[] =			"system: enabling task(s)";

	tracePrint1s(qTraceHandle, dbg_2, sys_boot);

	setTraceLevel(dbg_7);
	INIT_DAQ_HW();

	radioTx1s(qRadioTxHandle, sys_boot);

	uint32_t cfg_enabledTasks = 0;
	cfg_enabledTasks |= flg_BLINK_ENABLED;
	cfg_enabledTasks |= flg_devID_ENABLED;
	osDelay(500);		// malo pauze dok procitam ID
	cfg_enabledTasks |= flg_DIGITAL_ENABLED;
	cfg_enabledTasks |= flg_ANALOG_ENABLED;
	cfg_enabledTasks |= flg_RADIO_ENABLED;

	tracePrint1s(qTraceHandle, dbg_3, sys_startup);
	osDelay(1000);											// TODO dymmy delay for hardware initialiation
	tracePrint1s(qTraceHandle, dbg_3, sys_ok);
	radioTx1s(qRadioTxHandle, sys_ok);

	radioTx1s1u(qRadioTxHandle, sys_enx, cfg_enabledTasks);
	for (int i = 0; i < 31; ++i) {
		uint32_t curflg = (1 << i);
		if ( (curflg & cfg_enabledTasks) != 0) {
			tracePrint1s1u(qTraceHandle, dbg_3, sys_enx, curflg);
			osEventFlagsSet(EvtGlobalRunStopHandle, curflg);
		}
	}

	// osDelay(3000);
	osThreadFlagsSet(TaskDigitalInHandle, flg_DIGITAL_REQUEST);

	/* Infinite loop */
	for (;;) {
		uint32_t rez = osThreadFlagsWait(flg_MAX, osFlagsWaitAny, osWaitForever);
		//		switch (rez) {
		//			case osFlagsErrorTimeout:
		//				// za sada nista
		//				break;
		//
		//			default:
		//				// koliko god taskova ima
		//				osMutexAcquire(mtxMeasCntHandle, osWaitForever);
		//				measCnt++;
		//				osThreadFlagsSet(TaskDigitalInHandle, flg_DIGITAL_REQUEST);
		//				measCnt++;
		//				osThreadFlagsSet(TaskAnalogInHandle, flg_ADC_REQUEST);
		//				osDelay(2);		// dajem sansu da taskovi za merenja krenu
		//				osMutexRelease(mtxMeasCntHandle);
		//				break;
		//		}

		osDelay(10);
		osThreadYield();
	}
  /* USER CODE END startTaskDispecer */
}

void startTaskRadioComms(void *argument)
{
  /* USER CODE BEGIN startTaskRadioComms */
	RadioMessage_t rmsg;
	const char rad_ready[] = 		"radio ready";
	const char rad_txOn[] = 		"radio tx on";
	const char rad_txOnIncplt[] = 	"radio tx will be done with incomplete measurements";
	const char rad_txDone[] = 		"radio tx done";

	osEventFlagsWait(EvtGlobalRunStopHandle, flg_RADIO_ENABLED, osFlagsWaitAll, osWaitForever);
	INIT_RADIO();	// TODO timeout or error
	osEventFlagsSet(EvtTaskHealthHandle, flg_RADIO_ENABLED);
	tracePrint1s(qTraceHandle, dbg_3, rad_ready);

	/* Infinite loop */
	for (;;) {
		// cekam da neko zada start
		osMessageQueueGet(qRadioTxHandle, &rmsg, 0U, osWaitForever);
		osDelay(1000);			// sacekaj jos neku poruku
		tracePrint1s(qTraceHandle, dbg_3, rad_txOn);
		// radio on			// radio prepare and turn on
		// radio tramsmit
		HAL_UART_Transmit(&UART_radio, (uint8_t *)rmsg.txt, strlen(rmsg.txt), 1000);
		while (osOK == osMessageQueueGet(qRadioTxHandle, &rmsg, 0U, qWt) ) {
			// osDelay(1);	// treba li pauza izmedju poruka?
			// tracePrint rmsg.txt
			// radio tramsmit
			HAL_UART_Transmit(&UART_radio, (uint8_t *)rmsg.txt, strlen(rmsg.txt), 1000);
		}
		// radio off
		tracePrint1s(qTraceHandle, dbg_3, rad_txDone);
		osDelay(100);	// odmori se

		osThreadYield();
	}
  /* USER CODE END startTaskRadioComms */
}

void startTaskID(void *argument)
{
  /* USER CODE BEGIN startTaskID */

	TraceMessage_t tmsg;
	const char dev_id_run[] = "device id running";
	const char dev_id_is[] = "device id";

	osEventFlagsWait(EvtGlobalRunStopHandle, flg_devID_ENABLED, osFlagsWaitAll, osWaitForever);
	// INIT_DEVICE_ID_INPUTS();	// TODO neki timeout
	osEventFlagsSet(EvtTaskHealthHandle, flg_devID_ENABLED);
	tracePrint1s(qTraceHandle, dbg_3, dev_id_run);
	radioTx1s(qRadioTxHandle, dev_id_run);

	/* Infinite loop */
	for (;;) {
		INIT_DEVICE_ID();
		DaqHw_t hw = getDaqHw();

		char id0str[5],id1str[5],id2str[5];
		BIN4_TO_STR(hw.id0, id0str);
		BIN4_TO_STR(hw.id0, id1str);
		BIN4_TO_STR(hw.id2, id2str);
		snprintf(tmsg.txt, sizeof(tmsg.txt), "%s (raw %d, %d, %d) (bin %s, %s, %s, dec %d) (bcd %d)", dev_id_is, hw.id2, hw.id1, hw.id0, id2str, id1str,  id0str, getUID_bin(), getUID_bcd());
		tracePrint1s(qTraceHandle, dbg_3, tmsg.txt);

		osDelay(20000);
	}
  /* USER CODE END startTaskID */
}

void d3start(void *argument)
{
  /* USER CODE BEGIN d3start */
  /* Infinite loop */
  for(;;)
  {
    osDelay(1000);
  }
  /* USER CODE END d3start */
}

void d4start(void *argument)
{
  /* USER CODE BEGIN d4start */
  /* Infinite loop */
  for(;;)
  {
    osDelay(1000);
  }
  /* USER CODE END d4start */
}

void d5start(void *argument)
{
  /* USER CODE BEGIN d5start */
  /* Infinite loop */
  for(;;)
  {
    osDelay(1000);
  }
  /* USER CODE END d5start */
}

void d6start(void *argument)
{
  /* USER CODE BEGIN d6start */
  /* Infinite loop */
  for(;;)
  {
    osDelay(30000);
  }
  /* USER CODE END d6start */
}

void startTaskHwI2c(void *argument)
{
  /* USER CODE BEGIN startTaskHwI2c */
	/* Infinite loop */
	for (;;) {
		osDelay(100);
	}
  /* USER CODE END startTaskHwI2c */
}

void startTaskHwSpi(void *argument)
{
  /* USER CODE BEGIN startTaskHwSpi */
	/* Infinite loop */
	for (;;) {
		osDelay(100);
	}
  /* USER CODE END startTaskHwSpi */
}

void startTaskDigitalIn(void *argument)
{
  /* USER CODE BEGIN startTaskDigitalIn */
	// ovde se dolazi iz HAL_GPIO_EXTI_Callback
	// irq callback salje broj pina kao thread flag
	const char dig_running[] =		"digital running";
	const char dig_trig[] = 		"digital triggered";
	const char dig_inputs[] = 		"digital inputs";
	const char dig_complete[] = 	"digital processing done";
	uint32_t extPinovi = 0;

	osEventFlagsWait(EvtGlobalRunStopHandle, flg_DIGITAL_ENABLED, osFlagsWaitAll, osWaitForever);
	INIT_DIGITAL_INPUTS();	// TODO neki timeout
	osEventFlagsSet(EvtTaskHealthHandle, flg_DIGITAL_ENABLED);
	tracePrint1s(qTraceHandle, dbg_3, dig_running);
	radioTx1s(qRadioTxHandle, dig_running);

	/* Infinite loop */
	for (;;) {
		uint32_t rez = osThreadFlagsWait(flg_MAX, osFlagsWaitAny, osWaitForever);
		switch (rez) {
			case osFlagsErrorTimeout:
				// ni jedan digitalni ulaz se nije promenio. ne radim nista
				break;

			case flg_DIGITAL_REQUEST:
				__NOP();
				// break;

				default:
				// bilo koji flag -> primio sam EXTI sa nekog digitalnog pina ili je trazeno merenje zbog promene na ANALOGNOM delu
				// procitam vrednosti i posaljem u measurement set
				extPinovi = 0;
				// 1 << (Exti_d2_Pin>>1)  zato sto gpio pinovi u hal-u idu od 1..32 a meni treba shiftofanje 0..31 puta
				if ( HAL_GPIO_ReadPin(Exti_d0_BOARD_KEY0_GPIO_Port, Exti_d0_BOARD_KEY0_Pin) == GPIO_PIN_SET) { extPinovi |= ( 1 << bit0 ); };
				if ( HAL_GPIO_ReadPin(Exti_d1_GPIO_Port, Exti_d1_Pin) 						== GPIO_PIN_SET) { extPinovi |= ( 1 << bit1 ); };
				if ( HAL_GPIO_ReadPin(Exti_d2_GPIO_Port, Exti_d2_Pin) 						== GPIO_PIN_SET) { extPinovi |= ( 1 << bit2 ); };

				setDigitalResult(extPinovi);
				char bintostr[5];
				BIN4_TO_STR(extPinovi, bintostr);
				tracePrint2s2u(qTraceHandle, dbg_3, dig_trig, bintostr, extPinovi, extPinovi);
				osEventFlagsSet(EvtTriggersHandle, flg_DIGITAL_TRIGGERED);

				tracePrint1s(qTraceHandle, dbg_5, dig_complete);
				osEventFlagsSet(EvtTriggersHandle, flg_DIGITAL_PROCESSING_DONE);				// signaliziram zavrsetak
				radioTx2s2u(qRadioTxHandle, dig_inputs, bintostr, extPinovi, extPinovi);

				break;
		}
		osDelay(1);
		osThreadYield();
	}
  /* USER CODE END startTaskDigitalIn */
}

void startTaskAnalogIn(void *argument)
{
  /* USER CODE BEGIN startTaskAnalogIn */
	TraceMessage_t msg;
	ADinput_t inputCfg;
	uint32_t AD_REZULT_izDMA[MAX_ANALOG_INPUTS];
	bool triggerDetected[MAX_ANALOG_INPUTS] = {false};
	bool triggerZbirni = false;
	bool alreadyReported = false;

	const char adc_running[] =			"adc running";
	const char adc_triggered[] = 		"adc done, triggered: yes";
	const char adc_not_triggered[] = 	"adc done, triggered: no";
	const char adc_inputs[] = 			"adc inputs: ";

	osEventFlagsWait(EvtGlobalRunStopHandle, flg_ANALOG_ENABLED, osFlagsWaitAll, osWaitForever);
	INIT_ADC();	// TODO neki timeout
	osEventFlagsSet(EvtTaskHealthHandle, flg_ANALOG_ENABLED);
	tracePrint1s(qTraceHandle, dbg_3, adc_running);
	radioTx1s(qRadioTxHandle, adc_running);

	/* Infinite loop */
	for (;;) {
		uint32_t flg = osThreadFlagsWait(flg_MAX, osFlagsWaitAny, getAdcPeriodTicks());
		// analogno merenje svakih ADC_REPETITION_PERIOD_mS, ili ako pre vremena dobijem fleg zbog nekog drugog trigera
		switch (flg) {
			case osFlagsErrorTimeout:
			case flg_ADC_REQUEST:
				// ako istekne ADC_REPETITION_PERIOD_mS ili neki drugi task zatrazi merenje
				HAL_ADC_Start_DMA(&hadc1, AD_REZULT_izDMA, hadc1.Init.NbrOfConversion);	// posle ovoga cekam DMA da zavrsi
				break;

			case flg_ADC_CONV_CPLT_IRQ:
				// ADC_DMA transfer je zavrsen
				for (uint32_t i = 0; i < hadc1.Init.NbrOfConversion; i++) {
					setAnalogResult(i, AD_REZULT_izDMA[i]);

					inputCfg = getAnalogInputCfg(i);
					// ALARM_POLARITY > 0 => signaliziram prekoracenje IZNAD
					if ( inputCfg.alarmPolarity > 0 ) {
						if ( AD_REZULT_izDMA[i] > inputCfg.alarmThreshold ) {
							if (triggerDetected[i] == false) {
								triggerDetected[i] = true;
								alreadyReported = false;
							}
						} else if ( AD_REZULT_izDMA[i] <= (inputCfg.alarmThreshold - inputCfg.hysteresisValue) ) {
							if (triggerDetected[i] == true) {
								triggerDetected[i] = false;
								alreadyReported = false;
							}
						}
					}

					// ALARM_POLARITY < 0 => signaliziram prekoracenje ISPOD
					if ( inputCfg.alarmPolarity < 0) {
						if (AD_REZULT_izDMA[i] < ( inputCfg.alarmThreshold ) ) {
							if (triggerDetected[i] == false) {
								triggerDetected[i] = true;
								alreadyReported = false;
							}
						} else if (AD_REZULT_izDMA[i] >= ( inputCfg.alarmThreshold + inputCfg.hysteresisValue) ) {
							if (triggerDetected[i] == true) {
								triggerDetected[i] = false;
								alreadyReported = false;
							}
						}
					}

					// ALARM_POLARITY = 0 => Disable za taj ulaz. Samo merim i ne signaliziram nikom nista.
					if ( inputCfg.alarmPolarity == 0) {
							triggerDetected[i] = false;
					}

				}

				triggerZbirni = false;
				for (int i = 0; i < hadc1.Init.NbrOfConversion; ++i) {
					if (triggerDetected[i] == true) {
						triggerZbirni = true;
					}
				}

				if (triggerZbirni == true) {
					// ostavi poruku i signaliziraj trigger
					snprintf(msg.txt, sizeof(msg.txt), "%s, %u, %u, %u, %u", adc_triggered, AD_REZULT_izDMA[0], AD_REZULT_izDMA[1], AD_REZULT_izDMA[2], AD_REZULT_izDMA[3]);
					tracePrint1s(qTraceHandle, dbg_3, msg.txt);
					osEventFlagsSet(EvtTriggersHandle, flg_ANALOG_TRIGGERED);
				} else {
					// nije bio trigger
					snprintf(msg.txt, sizeof(msg.txt), "%s, %u, %u, %u, %u", adc_not_triggered, AD_REZULT_izDMA[0], AD_REZULT_izDMA[1], AD_REZULT_izDMA[2], AD_REZULT_izDMA[3]);
					tracePrint1s(qTraceHandle, dbg_6, msg.txt);
					osEventFlagsClear(EvtTriggersHandle, flg_ANALOG_TRIGGERED);
				}

				if ( alreadyReported == false ){
					snprintf(msg.txt, sizeof(msg.txt), "%s %u, %u, %u, %u", adc_inputs, AD_REZULT_izDMA[0], AD_REZULT_izDMA[1], AD_REZULT_izDMA[2], AD_REZULT_izDMA[3]);
					radioTx1s(qRadioTxHandle, msg.txt);
					alreadyReported = true;
				}

				// konacno signaliziraj zavrseno merenje
				osEventFlagsSet(EvtTriggersHandle, flg_ANALOG_PROCESSING_DONE);

				break;

			default:
				// TODO sta ovde? nista?
				break;
		}
		osDelay(1);
		osThreadYield();
	}
  /* USER CODE END startTaskAnalogIn */
}

void HAL_TIM_PeriodElapsedCallback(TIM_HandleTypeDef *htim)
{
  if (htim->Instance == TIM11)
  {
    HAL_IncTick();
  }
}

void Error_Handler(void)
{
  /* USER CODE BEGIN Error_Handler_Debug */
  /* User can add his own implementation to report the HAL error return state */
  __disable_irq();
  while (1)
  {
  	__NOP();
  }
  /* USER CODE END Error_Handler_Debug */
}
